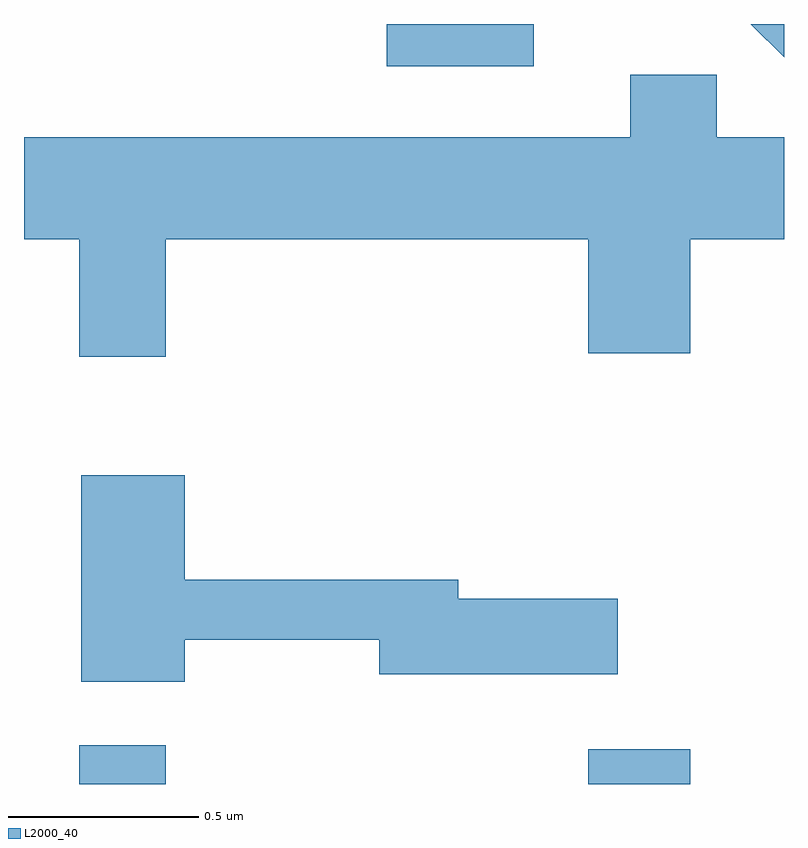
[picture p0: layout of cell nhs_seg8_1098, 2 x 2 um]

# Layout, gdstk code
import gdstk
lib = gdstk.Library(unit=1e-6, precision=1e-09)
def R(c, l, rs):  # rectangles x0, y0, x1, y1
    for r in rs: c.add(gdstk.rectangle(r[:2], r[2:], *l))
def P(c, l, *ps):  # polygons
    for p in ps: c.add(gdstk.Polygon(p, *l))
L2000_40 = (2000, 40)

nhs_seg8_1098 = lib.new_cell('nhs_seg8_1098')
R(nhs_seg8_1098, L2000_40, [(193.756,1808.342,193.984,1808.444), (195.096,1808.342,195.364,1808.434), (194.566,1810.231,194.953,1810.342)])
P(nhs_seg8_1098, L2000_40, [(195.611,1810.342),(195.523,1810.342),(195.611,1810.254)],
  [(193.984,1809.776),(195.096,1809.776),(195.096,1809.476),(195.364,1809.476),(195.364,1809.776),(195.611,1809.776),(195.611,1810.044),(195.434,1810.044),(195.434,1810.209),(195.206,1810.209),(195.206,1810.044),(193.611,1810.044),(193.611,1809.776),(193.756,1809.776),(193.756,1809.466),(193.984,1809.466)],
  [(194.034,1808.721),(194.546,1808.721),(194.546,1808.631),(195.174,1808.631),(195.174,1808.829),(194.754,1808.829),(194.754,1808.879),(194.034,1808.879),(194.034,1809.154),(193.761,1809.154),(193.761,1808.611),(194.034,1808.611)])

lib.write_gds('nhs_seg8_1098.gds')
